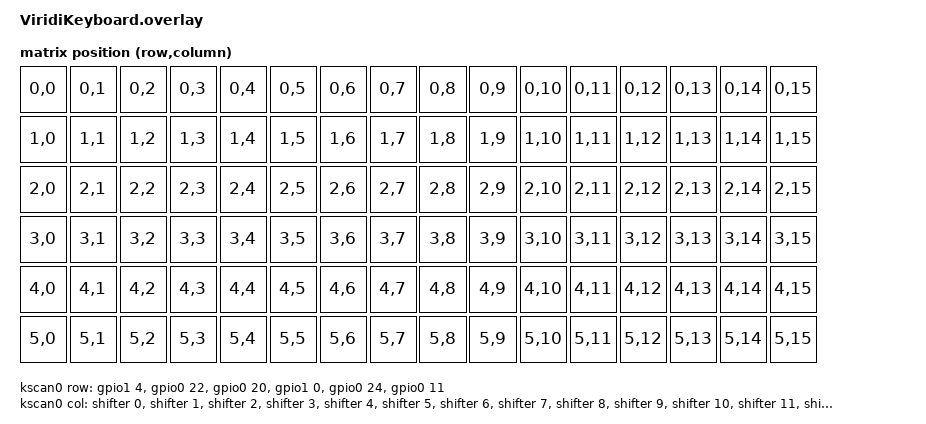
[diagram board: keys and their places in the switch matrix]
&arduino_spi { // Необходимо ввести spi хост
    status = "okay";
    cs-gpios = <&gpio0 17 GPIO_ACTIVE_LOW>; // Пин МК от регистра STCP
    
    shifter: 595@0 { // '0' — это SPI адрес устройства 
        compatible = "zmk,gpio-595";
        status = "okay";
        
        gpio-controller;
        spi-max-frequency = <200000>; // 200 kHz, может потребовать увеличения
        reg = <0>;
        #gpio-cells = <2>; // 2 регистра
        ngpios = <16>; // 16 выходов для 2 каскадных регистров
    };
};


 // Сканеруем матрицу 6x16
    kscan0: kscan_gpio_matrix {
        compatible = "zmk,kscan-gpio-matrix";
        debounce-period = <5>;
        polling-interval-msec = <10>;
        wakeup-source;

        // 6 строк подключены к GPIO пинам nice!nano
        row-gpios = <&gpio1 4 GPIO_ACTIVE_LOW>,   // P1.04 (Row 0)
                    <&gpio0 22 GPIO_ACTIVE_LOW>,  // P0.22 (Row 1)
                    <&gpio0 20 GPIO_ACTIVE_LOW>,  // P0.20 (Row 2)
                    <&gpio1 0 GPIO_ACTIVE_LOW>,   // P1.00 (Row 3)
                    <&gpio0 24 GPIO_ACTIVE_LOW>,  // P0.24 (Row 4)
                    <&gpio0 11 GPIO_ACTIVE_LOW>;  // P0.11 (Row 5)

        // 16 столбцов через сдвиговые регистры
        col-gpios = <&shifter 0 GPIO_ACTIVE_HIGH>,
                    <&shifter 1 GPIO_ACTIVE_HIGH>,
                    <&shifter 2 GPIO_ACTIVE_HIGH>,
                    <&shifter 3 GPIO_ACTIVE_HIGH>,
                    <&shifter 4 GPIO_ACTIVE_HIGH>,
                    <&shifter 5 GPIO_ACTIVE_HIGH>,
                    <&shifter 6 GPIO_ACTIVE_HIGH>,
                    <&shifter 7 GPIO_ACTIVE_HIGH>,
                    <&shifter 8 GPIO_ACTIVE_HIGH>,
                    <&shifter 9 GPIO_ACTIVE_HIGH>,
                    <&shifter 10 GPIO_ACTIVE_HIGH>,
                    <&shifter 11 GPIO_ACTIVE_HIGH>,
                    <&shifter 12 GPIO_ACTIVE_HIGH>,
                    <&shifter 13 GPIO_ACTIVE_HIGH>,
                    <&shifter 14 GPIO_ACTIVE_HIGH>,
                    <&shifter 15 GPIO_ACTIVE_HIGH>;

        // Преобразование матрицы
        matrix-transform = <&default_transform>;
        
        // Диоды: аноды к строкам, катоды к столбцам
        zmk,matrix-diode-polarities = /bits/ 8 <ZMK_MATRIX_DIODE_COL2ROW>;
    };

    // Рисуем матрицу количество строк и количество пинов регистров, нарисовал полную 
    default_transform: matrix_transform {
        compatible = "zmk,matrix-transform";
        rows = <6>;
        columns = <16>;
        
        map = < //Сама карта кнопок
            RC(0,0)  RC(0,1)  RC(0,2)  RC(0,3)  RC(0,4)  RC(0,5)  RC(0,6)  RC(0,7)  RC(0,8)  RC(0,9)  RC(0,10) RC(0,11) RC(0,12) RC(0,13) RC(0,14) RC(0,15)
            RC(1,0)  RC(1,1)  RC(1,2)  RC(1,3)  RC(1,4)  RC(1,5)  RC(1,6)  RC(1,7)  RC(1,8)  RC(1,9)  RC(1,10) RC(1,11) RC(1,12) RC(1,13) RC(1,14) RC(1,15)
            RC(2,0)  RC(2,1)  RC(2,2)  RC(2,3)  RC(2,4)  RC(2,5)  RC(2,6)  RC(2,7)  RC(2,8)  RC(2,9)  RC(2,10) RC(2,11) RC(2,12) RC(2,13) RC(2,14) RC(2,15)
            RC(3,0)  RC(3,1)  RC(3,2)  RC(3,3)  RC(3,4)  RC(3,5)  RC(3,6)  RC(3,7)  RC(3,8)  RC(3,9)  RC(3,10) RC(3,11) RC(3,12) RC(3,13) RC(3,14) RC(3,15)
            RC(4,0)  RC(4,1)  RC(4,2)  RC(4,3)  RC(4,4)  RC(4,5)  RC(4,6)  RC(4,7)  RC(4,8)  RC(4,9)  RC(4,10) RC(4,11) RC(4,12) RC(4,13) RC(4,14) RC(4,15)
            RC(5,0)  RC(5,1)  RC(5,2)  RC(5,3)  RC(5,4)  RC(5,5)  RC(5,6)  RC(5,7)  RC(5,8)  RC(5,9)  RC(5,10) RC(5,11) RC(5,12) RC(5,13) RC(5,14) RC(5,15)
        >;
    };
};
